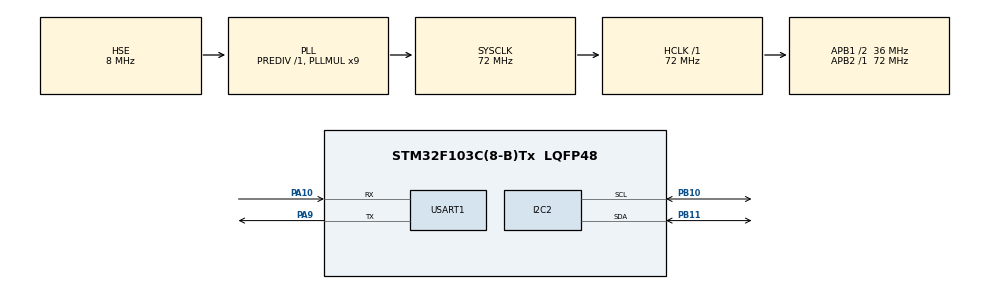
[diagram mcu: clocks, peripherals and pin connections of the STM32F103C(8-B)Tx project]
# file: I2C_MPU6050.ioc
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Mcu.Family=STM32F1
Mcu.Name=STM32F103C(8-B)Tx
Mcu.Package=LQFP48
NVIC.PriorityGroup=NVIC_PRIORITYGROUP_4
NVIC.TIM1_BRK_IRQn=true\:0\:0\:false\:false\:true\:true\:true
NVIC.USART1_IRQn=true\:0\:0\:false\:false\:true\:true\:true
PA10.Mode=Asynchronous
PA10.Signal=USART1_RX
PA13.Mode=Serial_Wire
PA13.Signal=SYS_JTMS-SWDIO
PA14.Mode=Serial_Wire
PA14.Signal=SYS_JTCK-SWCLK
PA9.Mode=Asynchronous
PA9.Signal=USART1_TX
PB10.Mode=I2C
PB10.Signal=I2C2_SCL
PB11.Mode=I2C
PB11.Signal=I2C2_SDA
PD0-OSC_IN.Mode=HSE-External-Oscillator
PD0-OSC_IN.Signal=RCC_OSC_IN
PD1-OSC_OUT.Mode=HSE-External-Oscillator
PD1-OSC_OUT.Signal=RCC_OSC_OUT
ProjectManager.HeapSize=0x200
ProjectManager.StackSize=0x400
ProjectManager.TargetToolchain=MDK-ARM V5
RCC.AHBFreq_Value=72000000
RCC.APB1CLKDivider=RCC_HCLK_DIV2
RCC.APB1Freq_Value=36000000
RCC.APB1TimFreq_Value=72000000
RCC.APB2Freq_Value=72000000
RCC.APB2TimFreq_Value=72000000
RCC.HCLKFreq_Value=72000000
RCC.PLLMUL=RCC_PLL_MUL9
RCC.PLLSourceVirtual=RCC_PLLSOURCE_HSE
RCC.SYSCLKFreq_VALUE=72000000
RCC.SYSCLKSource=RCC_SYSCLKSOURCE_PLLCLK
RCC.USBFreq_Value=72000000
TIM1.AutoReloadPreload=TIM_AUTORELOAD_PRELOAD_ENABLE
TIM1.Period=299
TIM1.Prescaler=719
USART1.VirtualMode=VM_ASYNC
VP_TIM1_VS_ClockSourceINT.Mode=Internal
board=custom

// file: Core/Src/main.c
/* USER CODE BEGIN Header */
/**
  ******************************************************************************
  * @file           : main.c
  * @brief          : Main program body
  ******************************************************************************
  * @attention
  *
  * Copyright (c) 2025 STMicroelectronics.
  * All rights reserved.
  *
  * This software is licensed under terms that can be found in the LICENSE file
  * in the root directory of this software component.
  * If no LICENSE file comes with this software, it is provided AS-IS.
  *
  ******************************************************************************
  */
/* USER CODE END Header */
#include "main.h"
#include "i2c.h"
#include "tim.h"
#include "usart.h"
#include "gpio.h"

/* USER CODE BEGIN Includes */
#include "MPU6050_driver.h"
#include "oled.h"
#include <stdio.h>
#include "ANO.h"
/* USER CODE END Includes */

void SystemClock_Config(void);

/* USER CODE BEGIN 0 */
#define RXBUFFERSIZE  256
char RxBuffer[RXBUFFERSIZE];

/* USER CODE END 0 */

int main(void)
{

  /* MCU Configuration--------------------------------------------------------*/

  /* Reset of all peripherals, Initializes the Flash interface and the Systick. */
  HAL_Init();

  /* Configure the system clock */
  SystemClock_Config();

  /* Initialize all configured peripherals */
  MX_GPIO_Init();
  MX_TIM1_Init();
  MX_I2C2_Init();
  MX_USART1_UART_Init();
  /* USER CODE BEGIN 2 */
	// 初始化（采样率100Hz，滤波增益0.1）
    Attitude_Init(100.0f, 0.1f);
	// 初始化OLED
	OLED_Init();

	OLED_Clear();
	OLED_ShowString(1, 1, "g");    // 左栏标题
	OLED_ShowString(1, 9, "dps");   // 右栏标题

	// 初始化MPU6050（可选）
	if(MPU6050_Init(&hi2c2) != 0)
	{
		OLED_ShowString(3, 1, "MPU6050 Error!");
		while(1);
	}

	MPU6050_Data mpu_data;
	float accel[3], gyro[3];
	uint16_t A[2] = {0};
  /* USER CODE END 2 */

  /* Infinite loop */
  while (1)
  {

    /* USER CODE BEGIN 3 */
	// 读取MPU6050数据（可选）
        MPU6050_Read_All(&hi2c2, &mpu_data);
        MPU6050_Convert_To_Real(&mpu_data, accel, gyro);

        // 显示加速度数据
        char buf[16];
        sprintf(buf, "g:%.2f", accel[0]);
        OLED_ShowString(2, 1, buf);
		sprintf(buf, "g:%.2f", accel[1]);
        OLED_ShowString(3, 1, buf);
		sprintf(buf, "g:%.2f", accel[2]);
        OLED_ShowString(4, 1, buf);

        // 显示陀螺仪数据
        sprintf(buf, "d:%.2f", gyro[0]);
        OLED_ShowString(2, 9, buf);
		sprintf(buf, "d:%.2f", gyro[1]);
        OLED_ShowString(3, 9, buf);
		sprintf(buf, "d:%.2f", gyro[2]);
        OLED_ShowString(4, 9, buf);

		// 更新姿态
        Attitude_Update(accel, gyro);

        // 获取欧拉角（弧度）
        EulerAngles angles = Attitude_GetEulerAngles();
		printf("Roll=%.2f°, Pitch=%.2f°, Yaw=%.2f°\r\n",
         angles.roll * 180.0f / M_PI,
         angles.pitch * 180.0f / M_PI,
         angles.yaw * 180.0f / M_PI);
		// SendSensorData(accel, gyro);
        SendWaveformData(A, 2);

		A[0]++;
		A[1] += 2;
        HAL_Delay(100);  // 100ms刷新
  }
  /* USER CODE END 3 */
}

void SystemClock_Config(void)
{
  RCC_OscInitTypeDef RCC_OscInitStruct = {0};
  RCC_ClkInitTypeDef RCC_ClkInitStruct = {0};

  /** Initializes the RCC Oscillators according to the specified parameters
  * in the RCC_OscInitTypeDef structure.
  */
  RCC_OscInitStruct.OscillatorType = RCC_OSCILLATORTYPE_HSE;
  RCC_OscInitStruct.HSEState = RCC_HSE_ON;
  RCC_OscInitStruct.HSEPredivValue = RCC_HSE_PREDIV_DIV1;
  RCC_OscInitStruct.HSIState = RCC_HSI_ON;
  RCC_OscInitStruct.PLL.PLLState = RCC_PLL_ON;
  RCC_OscInitStruct.PLL.PLLSource = RCC_PLLSOURCE_HSE;
  RCC_OscInitStruct.PLL.PLLMUL = RCC_PLL_MUL9;
  if (HAL_RCC_OscConfig(&RCC_OscInitStruct) != HAL_OK)
  {
    Error_Handler();
  }
  /** Initializes the CPU, AHB and APB buses clocks
  */
  RCC_ClkInitStruct.ClockType = RCC_CLOCKTYPE_HCLK|RCC_CLOCKTYPE_SYSCLK
                              |RCC_CLOCKTYPE_PCLK1|RCC_CLOCKTYPE_PCLK2;
  RCC_ClkInitStruct.SYSCLKSource = RCC_SYSCLKSOURCE_PLLCLK;
  RCC_ClkInitStruct.AHBCLKDivider = RCC_SYSCLK_DIV1;
  RCC_ClkInitStruct.APB1CLKDivider = RCC_HCLK_DIV2;
  RCC_ClkInitStruct.APB2CLKDivider = RCC_HCLK_DIV1;

  if (HAL_RCC_ClockConfig(&RCC_ClkInitStruct, FLASH_LATENCY_2) != HAL_OK)
  {
    Error_Handler();
  }
}

void Error_Handler(void)
{
  __disable_irq();
  while (1)
  {
  }
}
